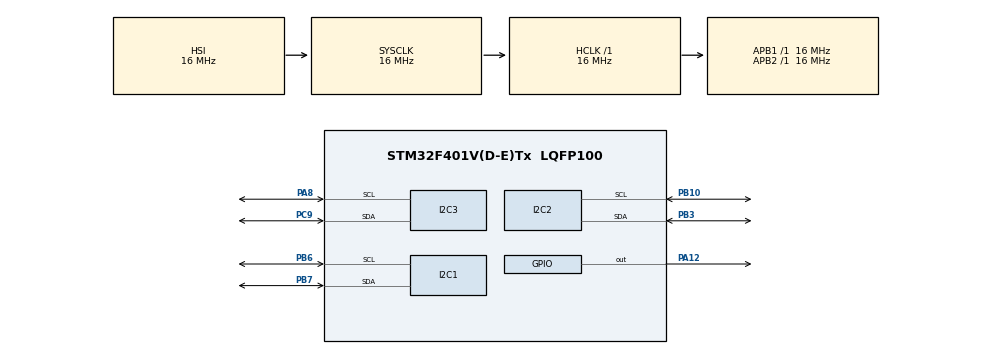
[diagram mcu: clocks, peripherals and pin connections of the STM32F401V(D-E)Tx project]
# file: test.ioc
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Mcu.Family=STM32F4
Mcu.Name=STM32F401V(D-E)Tx
Mcu.Package=LQFP100
NVIC.I2C1_EV_IRQn=true\:0\:0\:false\:false\:true\:true\:true
NVIC.I2C2_EV_IRQn=true\:0\:0\:false\:false\:true\:true\:true
NVIC.I2C3_EV_IRQn=true\:0\:0\:false\:false\:true\:true\:true
NVIC.PriorityGroup=NVIC_PRIORITYGROUP_4
NVIC.TIM2_IRQn=true\:0\:0\:false\:false\:true\:true\:true
NVIC.TIM3_IRQn=true\:0\:0\:false\:false\:true\:true\:true
PA12.Signal=GPIO_Output
PA8.Mode=I2C
PA8.Signal=I2C3_SCL
PB10.Mode=I2C
PB10.Signal=I2C2_SCL
PB3.Mode=I2C
PB3.Signal=I2C2_SDA
PB6.Mode=I2C
PB6.Signal=I2C1_SCL
PB7.Mode=I2C
PB7.Signal=I2C1_SDA
PC9.Mode=I2C
PC9.Signal=I2C3_SDA
ProjectManager.HeapSize=0x200
ProjectManager.StackSize=0x400
ProjectManager.TargetToolchain=STM32CubeIDE
RCC.AHBFreq_Value=16000000
RCC.APB1Freq_Value=16000000
RCC.APB2Freq_Value=16000000
RCC.CortexFreq_Value=16000000
RCC.HSE_VALUE=25000000
RCC.HSI_VALUE=16000000
RCC.LSE_VALUE=32768
RCC.SYSCLKFreq_VALUE=16000000
RCC.VCOOutputFreq_Value=192000000
TIM2.Period=9999
TIM2.Prescaler=1599
TIM3.Period=9999
TIM3.Prescaler=1599
VP_TIM2_VS_ClockSourceINT.Mode=Internal
VP_TIM3_VS_ClockSourceINT.Mode=Internal
board=custom

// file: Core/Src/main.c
/* USER CODE BEGIN Header */
/**
  ******************************************************************************
  * @file           : main.c
  * @brief          : Main program body
  ******************************************************************************
  * @attention
  *
  * <h2><center>&copy; Copyright (c) 2021 STMicroelectronics.
  * All rights reserved.</center></h2>
  *
  * This software component is licensed by ST under BSD 3-Clause license,
  * the "License"; You may not use this file except in compliance with the
  * License. You may obtain a copy of the License at:
  *                        opensource.org/licenses/BSD-3-Clause
  *
  ******************************************************************************
  */
/* USER CODE END Header */
#include "main.h"

I2C_HandleTypeDef hi2c1;
I2C_HandleTypeDef hi2c2;
I2C_HandleTypeDef hi2c3;

TIM_HandleTypeDef htim2;
TIM_HandleTypeDef htim3;

void SystemClock_Config(void);
static void MX_GPIO_Init(void);
static void MX_I2C1_Init(void);
static void MX_I2C2_Init(void);
static void MX_I2C3_Init(void);
static void MX_TIM2_Init(void);
static void MX_TIM3_Init(void);

/* USER CODE BEGIN 0 */
void HAL_TIM_PeriodElapsedCallback(TIM_HandleTypeDef *htim)
{
	if(htim->Instance == TIM2)
	{
		HAL_GPIO_TogglePin(GPIOA, GPIO_PIN_12);
	}
}

void LCD_send_cmd (char cmd)
{
  char data_u, data_l;
	uint8_t data_t[4];
	data_u = (cmd&0xf0);
	data_l = ((cmd<<4)&0xf0);
	data_t[0] = data_u|0x0C;  //en=1, rs=0
	data_t[1] = data_u|0x08;  //en=0, rs=0
	data_t[2] = data_l|0x0C;  //en=1, rs=0
	data_t[3] = data_l|0x08;  //en=0, rs=0
	HAL_I2C_Master_Transmit(&hi2c3, 0x4e,(uint8_t *) data_t, 4, 100);
	HAL_GPIO_TogglePin(GPIOA, GPIO_PIN_12);
		  HAL_Delay(1000);
}
/* USER CODE END 0 */

int main(void)
{

  /* MCU Configuration--------------------------------------------------------*/

  /* Reset of all peripherals, Initializes the Flash interface and the Systick. */
  HAL_Init();

  /* Configure the system clock */
  SystemClock_Config();

  /* Initialize all configured peripherals */
  MX_GPIO_Init();
  MX_I2C1_Init();
  MX_I2C2_Init();
  MX_I2C3_Init();
  MX_TIM2_Init();
  MX_TIM3_Init();
  /* USER CODE BEGIN 2 */
	HAL_TIM_Base_Start_IT(&htim2);
  /* USER CODE END 2 */

  /* Infinite loop */
  while (1)
  {

    /* USER CODE BEGIN 3 */
//	  LCD_send_cmd(0x24);
  }
  /* USER CODE END 3 */
}

void SystemClock_Config(void)
{
  RCC_OscInitTypeDef RCC_OscInitStruct = {0};
  RCC_ClkInitTypeDef RCC_ClkInitStruct = {0};

  /** Configure the main internal regulator output voltage
  */
  __HAL_RCC_PWR_CLK_ENABLE();
  __HAL_PWR_VOLTAGESCALING_CONFIG(PWR_REGULATOR_VOLTAGE_SCALE2);
  /** Initializes the RCC Oscillators according to the specified parameters
  * in the RCC_OscInitTypeDef structure.
  */
  RCC_OscInitStruct.OscillatorType = RCC_OSCILLATORTYPE_HSI;
  RCC_OscInitStruct.HSIState = RCC_HSI_ON;
  RCC_OscInitStruct.HSICalibrationValue = RCC_HSICALIBRATION_DEFAULT;
  RCC_OscInitStruct.PLL.PLLState = RCC_PLL_NONE;
  if (HAL_RCC_OscConfig(&RCC_OscInitStruct) != HAL_OK)
  {
    Error_Handler();
  }
  /** Initializes the CPU, AHB and APB buses clocks
  */
  RCC_ClkInitStruct.ClockType = RCC_CLOCKTYPE_HCLK|RCC_CLOCKTYPE_SYSCLK
                              |RCC_CLOCKTYPE_PCLK1|RCC_CLOCKTYPE_PCLK2;
  RCC_ClkInitStruct.SYSCLKSource = RCC_SYSCLKSOURCE_HSI;
  RCC_ClkInitStruct.AHBCLKDivider = RCC_SYSCLK_DIV1;
  RCC_ClkInitStruct.APB1CLKDivider = RCC_HCLK_DIV1;
  RCC_ClkInitStruct.APB2CLKDivider = RCC_HCLK_DIV1;

  if (HAL_RCC_ClockConfig(&RCC_ClkInitStruct, FLASH_LATENCY_0) != HAL_OK)
  {
    Error_Handler();
  }
}

static void MX_I2C1_Init(void)
{

  hi2c1.Instance = I2C1;
  hi2c1.Init.ClockSpeed = 100000;
  hi2c1.Init.DutyCycle = I2C_DUTYCYCLE_2;
  hi2c1.Init.OwnAddress1 = 0;
  hi2c1.Init.AddressingMode = I2C_ADDRESSINGMODE_7BIT;
  hi2c1.Init.DualAddressMode = I2C_DUALADDRESS_DISABLE;
  hi2c1.Init.OwnAddress2 = 0;
  hi2c1.Init.GeneralCallMode = I2C_GENERALCALL_DISABLE;
  hi2c1.Init.NoStretchMode = I2C_NOSTRETCH_DISABLE;
  if (HAL_I2C_Init(&hi2c1) != HAL_OK)
  {
    Error_Handler();
  }

}

static void MX_I2C2_Init(void)
{

  hi2c2.Instance = I2C2;
  hi2c2.Init.ClockSpeed = 100000;
  hi2c2.Init.DutyCycle = I2C_DUTYCYCLE_2;
  hi2c2.Init.OwnAddress1 = 0;
  hi2c2.Init.AddressingMode = I2C_ADDRESSINGMODE_7BIT;
  hi2c2.Init.DualAddressMode = I2C_DUALADDRESS_DISABLE;
  hi2c2.Init.OwnAddress2 = 0;
  hi2c2.Init.GeneralCallMode = I2C_GENERALCALL_DISABLE;
  hi2c2.Init.NoStretchMode = I2C_NOSTRETCH_DISABLE;
  if (HAL_I2C_Init(&hi2c2) != HAL_OK)
  {
    Error_Handler();
  }

}

static void MX_I2C3_Init(void)
{

  hi2c3.Instance = I2C3;
  hi2c3.Init.ClockSpeed = 100000;
  hi2c3.Init.DutyCycle = I2C_DUTYCYCLE_2;
  hi2c3.Init.OwnAddress1 = 0;
  hi2c3.Init.AddressingMode = I2C_ADDRESSINGMODE_7BIT;
  hi2c3.Init.DualAddressMode = I2C_DUALADDRESS_DISABLE;
  hi2c3.Init.OwnAddress2 = 0;
  hi2c3.Init.GeneralCallMode = I2C_GENERALCALL_DISABLE;
  hi2c3.Init.NoStretchMode = I2C_NOSTRETCH_DISABLE;
  if (HAL_I2C_Init(&hi2c3) != HAL_OK)
  {
    Error_Handler();
  }

}

static void MX_TIM2_Init(void)
{

  TIM_ClockConfigTypeDef sClockSourceConfig = {0};
  TIM_MasterConfigTypeDef sMasterConfig = {0};

  htim2.Instance = TIM2;
  htim2.Init.Prescaler = 1599;
  htim2.Init.CounterMode = TIM_COUNTERMODE_UP;
  htim2.Init.Period = 9999;
  htim2.Init.ClockDivision = TIM_CLOCKDIVISION_DIV1;
  htim2.Init.AutoReloadPreload = TIM_AUTORELOAD_PRELOAD_DISABLE;
  if (HAL_TIM_Base_Init(&htim2) != HAL_OK)
  {
    Error_Handler();
  }
  sClockSourceConfig.ClockSource = TIM_CLOCKSOURCE_INTERNAL;
  if (HAL_TIM_ConfigClockSource(&htim2, &sClockSourceConfig) != HAL_OK)
  {
    Error_Handler();
  }
  sMasterConfig.MasterOutputTrigger = TIM_TRGO_RESET;
  sMasterConfig.MasterSlaveMode = TIM_MASTERSLAVEMODE_DISABLE;
  if (HAL_TIMEx_MasterConfigSynchronization(&htim2, &sMasterConfig) != HAL_OK)
  {
    Error_Handler();
  }

}

static void MX_TIM3_Init(void)
{

  TIM_ClockConfigTypeDef sClockSourceConfig = {0};
  TIM_MasterConfigTypeDef sMasterConfig = {0};

  htim3.Instance = TIM3;
  htim3.Init.Prescaler = 1599;
  htim3.Init.CounterMode = TIM_COUNTERMODE_UP;
  htim3.Init.Period = 9999;
  htim3.Init.ClockDivision = TIM_CLOCKDIVISION_DIV1;
  htim3.Init.AutoReloadPreload = TIM_AUTORELOAD_PRELOAD_DISABLE;
  if (HAL_TIM_Base_Init(&htim3) != HAL_OK)
  {
    Error_Handler();
  }
  sClockSourceConfig.ClockSource = TIM_CLOCKSOURCE_INTERNAL;
  if (HAL_TIM_ConfigClockSource(&htim3, &sClockSourceConfig) != HAL_OK)
  {
    Error_Handler();
  }
  sMasterConfig.MasterOutputTrigger = TIM_TRGO_RESET;
  sMasterConfig.MasterSlaveMode = TIM_MASTERSLAVEMODE_DISABLE;
  if (HAL_TIMEx_MasterConfigSynchronization(&htim3, &sMasterConfig) != HAL_OK)
  {
    Error_Handler();
  }

}

static void MX_GPIO_Init(void)
{
  GPIO_InitTypeDef GPIO_InitStruct = {0};

  /* GPIO Ports Clock Enable */
  __HAL_RCC_GPIOB_CLK_ENABLE();
  __HAL_RCC_GPIOC_CLK_ENABLE();
  __HAL_RCC_GPIOA_CLK_ENABLE();

  /*Configure GPIO pin Output Level */
  HAL_GPIO_WritePin(GPIOA, GPIO_PIN_12, GPIO_PIN_RESET);

  /*Configure GPIO pin : PA12 */
  GPIO_InitStruct.Pin = GPIO_PIN_12;
  GPIO_InitStruct.Mode = GPIO_MODE_OUTPUT_PP;
  GPIO_InitStruct.Pull = GPIO_NOPULL;
  GPIO_InitStruct.Speed = GPIO_SPEED_FREQ_LOW;
  HAL_GPIO_Init(GPIOA, &GPIO_InitStruct);

}

void Error_Handler(void)
{
  __disable_irq();
  while (1)
  {
  }
}

/************************ (C) COPYRIGHT STMicroelectronics *****END OF FILE****/
